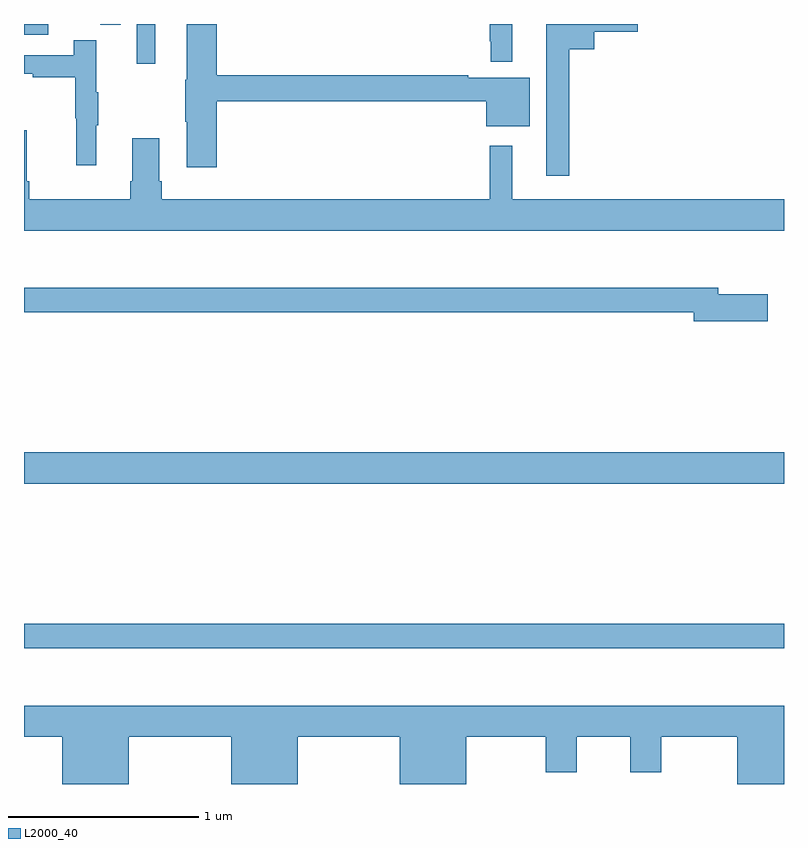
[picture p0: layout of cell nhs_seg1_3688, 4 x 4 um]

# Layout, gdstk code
import gdstk
lib = gdstk.Library(unit=1e-6, precision=1e-09)
def R(c, l, rs):  # rectangles x0, y0, x1, y1
    for r in rs: c.add(gdstk.rectangle(r[:2], r[2:], *l))
def P(c, l, *ps):  # polygons
    for p in ps: c.add(gdstk.Polygon(p, *l))
L2000_40 = (2000, 40)

nhs_seg1_3688 = lib.new_cell('nhs_seg1_3688')
R(nhs_seg1_3688, L2000_40, [(313,502.914,317,503.042), (313,503.78,317,503.944), (313.593,505.989,313.69,506.199), (313,506.142,313.128,506.199), (313.4,506.194,313.508,506.199)])
P(nhs_seg1_3688, L2000_40, [(315.571,506.199),(315.45,506.199),(315.45,506.107),(315.456,506.107),(315.456,506),(315.571,506)],
  [(314.015,505.792),(315.434,505.792),(315.434,505.661),(315.661,505.661),(315.661,505.915),(315.338,505.915),(315.338,505.928),(314.015,505.928),(314.015,506.199),(313.856,506.199),(313.856,505.905),(313.849,505.905),(313.849,505.684),(313.856,505.684),(313.856,505.446),(314.015,505.446)],
  [(315.871,506.066),(316,506.066),(316,506.159),(316.231,506.159),(316.231,506.199),(315.749,506.199),(315.749,505.401),(315.871,505.401)],
  [(313.379,505.667),(313.39,505.667),(313.39,505.841),(313.379,505.841),(313.379,506.113),(313.261,506.113),(313.261,506.034),(313,506.034),(313,505.938),(313.045,505.938),(313.045,505.918),(313.269,505.918),(313.269,505.704),(313.276,505.704),(313.276,505.455),(313.379,505.455)],
  [(317,505.276),(315.571,505.276),(315.571,505.558),(315.45,505.558),(315.45,505.276),(313.724,505.276),(313.724,505.372),(313.711,505.372),(313.711,505.597),(313.571,505.597),(313.571,505.372),(313.559,505.372),(313.559,505.276),(313.028,505.276),(313.028,505.372),(313.015,505.372),(313.015,505.639),(313,505.639),(313,505.112),(317,505.112)],
  [(316.915,504.777),(316.654,504.777),(316.654,504.811),(313,504.811),(313,504.682),(316.526,504.682),(316.526,504.635),(316.915,504.635)],
  [(313.552,502.448),(314.09,502.448),(314.09,502.199),(314.44,502.199),(314.44,502.448),(314.978,502.448),(314.978,502.199),(315.328,502.199),(315.328,502.448),(315.746,502.448),(315.746,502.26),(315.91,502.26),(315.91,502.448),(316.19,502.448),(316.19,502.26),(316.354,502.26),(316.354,502.448),(316.754,502.448),(316.754,502.199),(317,502.199),(317,502.612),(313,502.612),(313,502.448),(313.202,502.448),(313.202,502.199),(313.552,502.199)])

lib.write_gds('nhs_seg1_3688.gds')
